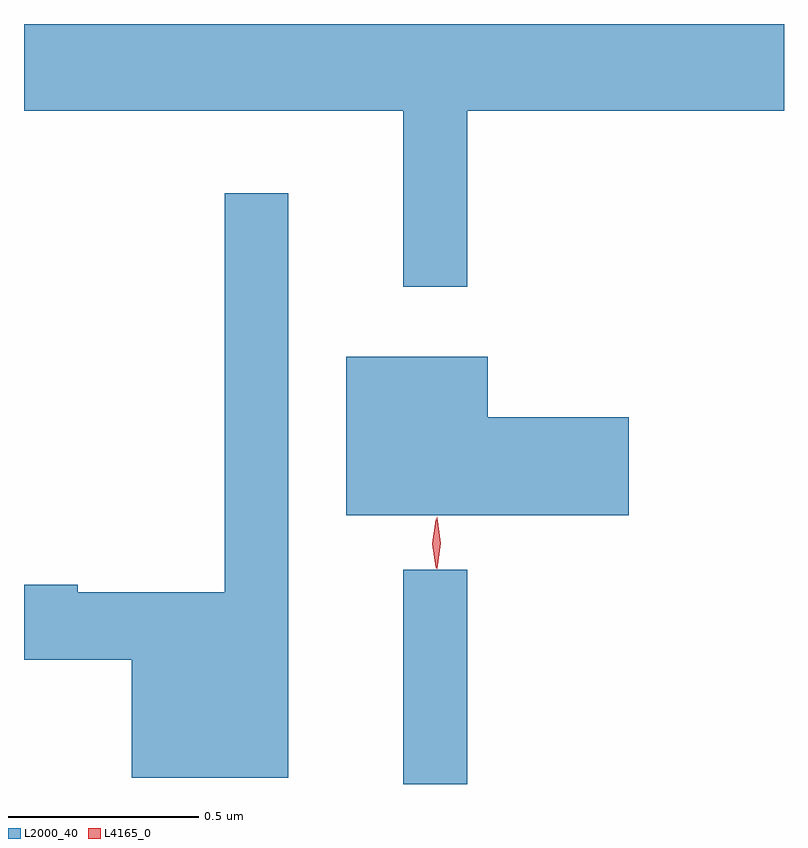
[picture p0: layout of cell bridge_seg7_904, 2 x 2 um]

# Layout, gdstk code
import gdstk
lib = gdstk.Library(unit=1e-6, precision=1e-09)
def R(c, l, rs):  # rectangles x0, y0, x1, y1
    for r in rs: c.add(gdstk.rectangle(r[:2], r[2:], *l))
def P(c, l, *ps):  # polygons
    for p in ps: c.add(gdstk.Polygon(p, *l))
L2000_40 = (2000, 40)
L4165_0 = (4165, 0)

bridge_seg7_904 = lib.new_cell('bridge_seg7_904')
R(bridge_seg7_904, L2000_40, [(212.681,1710.324,212.849,1710.888)])
P(bridge_seg7_904, L2000_40, [(212.849,1712.096),(213.683,1712.096),(213.683,1712.324),(211.683,1712.324),(211.683,1712.096),(212.681,1712.096),(212.681,1711.633),(212.849,1711.633)],
  [(212.379,1711.878),(212.211,1711.878),(212.211,1710.829),(211.824,1710.829),(211.824,1710.849),(211.683,1710.849),(211.683,1710.651),(211.966,1710.651),(211.966,1710.341),(212.379,1710.341)],
  [(213.274,1711.289),(212.904,1711.289),(212.904,1711.449),(212.531,1711.449),(212.531,1711.031),(213.274,1711.031)])
P(bridge_seg7_904, L4165_0, [(212.768,1710.893),(212.767,1710.894),(212.757,1710.956),(212.767,1711.02),(212.768,1711.02),(212.768,1711.02),(212.777,1710.956),(212.768,1710.894)],
  [(212.769,1710.89),(212.76,1710.958),(212.769,1711.025),(212.77,1711.026),(212.77,1711.025),(212.78,1710.958),(212.77,1710.89),(212.77,1710.89)])

lib.write_gds('bridge_seg7_904.gds')
